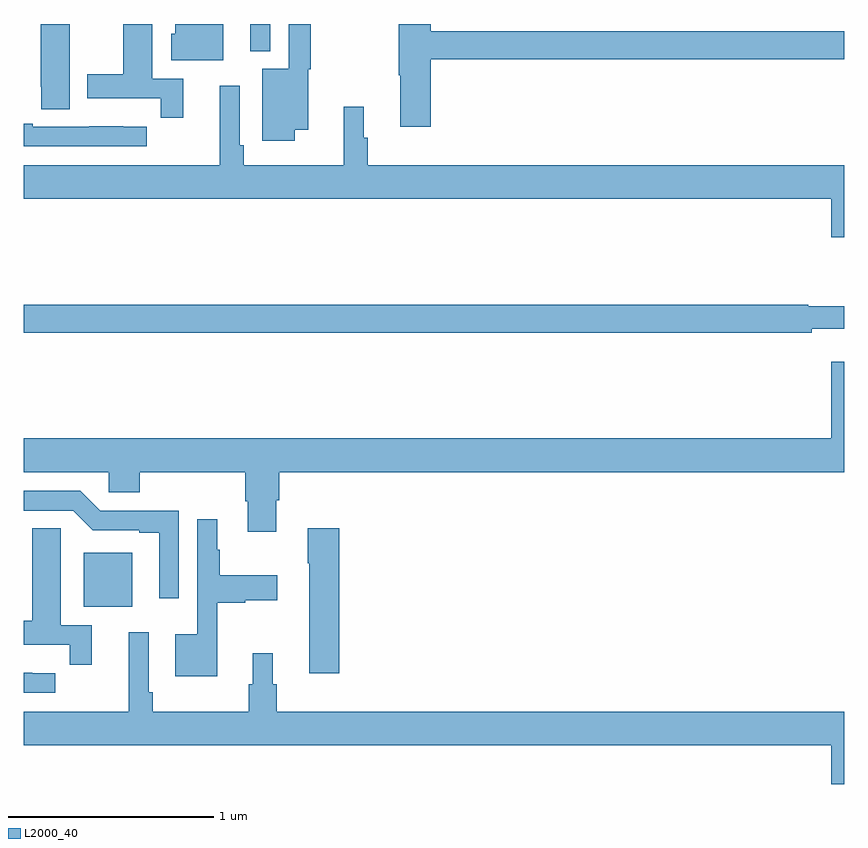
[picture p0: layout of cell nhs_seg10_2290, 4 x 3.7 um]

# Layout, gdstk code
import gdstk
lib = gdstk.Library(unit=1e-6, precision=1e-09)
def R(c, l, rs):  # rectangles x0, y0, x1, y1
    for r in rs: c.add(gdstk.rectangle(r[:2], r[2:], *l))
def P(c, l, *ps):  # polygons
    for p in ps: c.add(gdstk.Polygon(p, *l))
L2000_40 = (2000, 40)

nhs_seg10_2290 = lib.new_cell('nhs_seg10_2290')
R(nhs_seg10_2290, L2000_40, [(233.294,1299.659,233.53,1299.922), (234.104,1302.368,234.201,1302.5)])
P(nhs_seg10_2290, L2000_40, [(233.777,1302.234),(233.626,1302.234),(233.626,1302.5),(233.486,1302.5),(233.486,1302.255),(233.309,1302.255),(233.309,1302.138),(233.668,1302.138),(233.668,1302.042),(233.777,1302.042)],
  [(233.224,1302.5),(233.084,1302.5),(233.084,1302.193),(233.085,1302.193),(233.085,1302.085),(233.224,1302.085)],
  [(233.974,1302.5),(233.738,1302.5),(233.738,1302.453),(233.72,1302.453),(233.72,1302.323),(233.974,1302.323)],
  [(234.983,1302.328),(237,1302.328),(237,1302.464),(234.983,1302.464),(234.983,1302.5),(234.829,1302.5),(234.829,1302.251),(234.836,1302.251),(234.836,1302),(234.983,1302)],
  [(234.322,1301.984),(234.388,1301.984),(234.388,1302.279),(234.4,1302.279),(234.4,1302.5),(234.291,1302.5),(234.291,1302.283),(234.164,1302.283),(234.164,1301.931),(234.322,1301.931)],
  [(237,1301.812),(234.677,1301.812),(234.677,1301.946),(234.658,1301.946),(234.658,1302.097),(234.559,1302.097),(234.559,1301.812),(234.074,1301.812),(234.074,1301.908),(234.054,1301.908),(234.054,1302.199),(233.957,1302.199),(233.957,1301.812),(233,1301.812),(233,1301.648),(236.936,1301.648),(236.936,1301.46),(237,1301.46)],
  [(233.599,1302),(233.486,1302),(233.486,1302.001),(233.32,1302.001),(233.32,1302),(233.044,1302),(233.044,1302.015),(233,1302.015),(233,1301.904),(233.599,1301.904)],
  [(236.84,1301.015),(237,1301.015),(237,1301.125),(236.824,1301.125),(236.824,1301.132),(233,1301.132),(233,1300.996),(236.84,1300.996)],
  [(234.232,1300.179),(234.245,1300.179),(234.245,1300.316),(237,1300.316),(237,1300.855),(236.936,1300.855),(236.936,1300.48),(233,1300.48),(233,1300.316),(233.415,1300.316),(233.415,1300.218),(233.567,1300.218),(233.567,1300.316),(234.08,1300.316),(234.08,1300.174),(234.092,1300.174),(234.092,1300.026),(234.232,1300.026)],
  [(233.757,1300.128),(233.373,1300.128),(233.277,1300.224),(233,1300.224),(233,1300.128),(233.241,1300.128),(233.337,1300.032),(233.564,1300.032),(233.564,1300.02),(233.66,1300.02),(233.66,1299.702),(233.757,1299.702)],
  [(233.944,1299.68),(234.081,1299.68),(234.081,1299.692),(234.235,1299.692),(234.235,1299.814),(233.956,1299.814),(233.956,1299.938),(233.944,1299.938),(233.944,1300.087),(233.847,1300.087),(233.847,1299.526),(233.738,1299.526),(233.738,1299.32),(233.944,1299.32)],
  [(233.333,1299.57),(233.182,1299.57),(233.182,1299.932),(233.181,1299.932),(233.181,1300.043),(233.042,1300.043),(233.042,1299.591),(233,1299.591),(233,1299.474),(233.224,1299.474),(233.224,1299.378),(233.333,1299.378)],
  [(234.539,1300.042),(234.385,1300.042),(234.385,1299.872),(234.392,1299.872),(234.392,1299.336),(234.539,1299.336)],
  [(237,1299.148),(234.233,1299.148),(234.233,1299.282),(234.214,1299.282),(234.214,1299.433),(234.116,1299.433),(234.116,1299.282),(234.097,1299.282),(234.097,1299.148),(233.63,1299.148),(233.63,1299.244),(233.61,1299.244),(233.61,1299.535),(233.513,1299.535),(233.513,1299.148),(233,1299.148),(233,1298.984),(236.936,1298.984),(236.936,1298.796),(237,1298.796)],
  [(233.155,1299.336),(233.042,1299.336),(233.042,1299.337),(233,1299.337),(233,1299.24),(233.155,1299.24)])

lib.write_gds('nhs_seg10_2290.gds')
